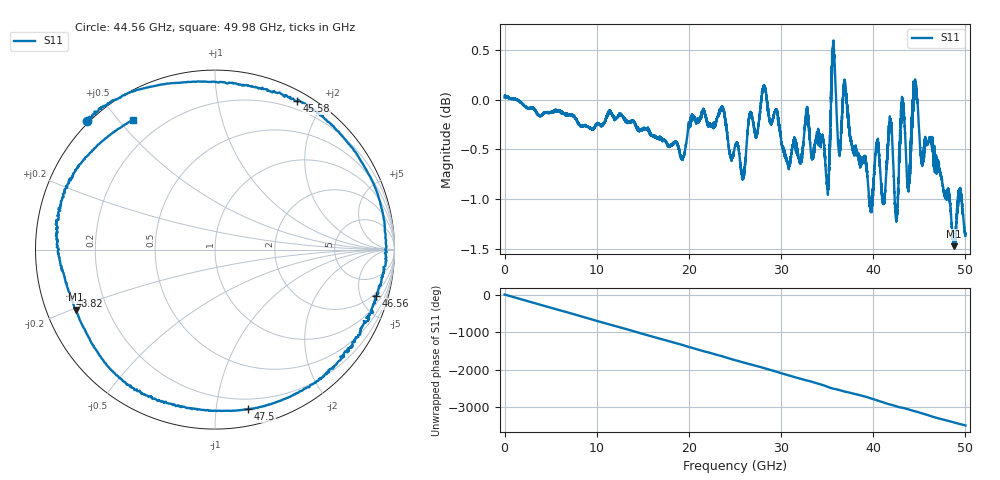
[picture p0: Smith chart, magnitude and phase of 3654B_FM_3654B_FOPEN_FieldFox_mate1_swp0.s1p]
!Created with skrf (http://scikit-rf.org).
# Hz S RI R 50.0
!freq ReS11 ImS11
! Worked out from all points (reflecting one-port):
!   10001 points, 300 kHz to 50 GHz, reference 50 ohm
!   lowest |S11| = -1.5 dB at 48.74 GHz (marker M1), VSWR 11.83, Z = 4.41 - j10.3 ohm
!   phase of S11 starts at 0 deg and turns -3479 deg over the sweep
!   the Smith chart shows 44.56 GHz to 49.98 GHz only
!   S11 on the Smith chart (normalised r, x): 44.56 GHz: -0.01, +0.41; 45.58 GHz: 0.11, +1.69; 46.56 GHz: 1.62, -6.72; 47.5 GHz: 0.12, -1.22; 48.82 GHz: 0.09, -0.16; 49.98 GHz: 0.10, +0.55
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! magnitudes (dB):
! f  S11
! 300 kHz  0.0
! 6.25 GHz  -0.1
! 12.5 GHz  -0.1
! 18.75 GHz  -0.4
! 25 GHz  -0.5
! 25.89 GHz  -0.8
! 28.16 GHz  0.1
! 31.25 GHz  -0.5
! 35.04 GHz  -0.9
! 35.69 GHz  0.6
! 36.27 GHz  -0.5
! 36.9 GHz  0.2
! 37.5 GHz  -0.4
! 39.74 GHz  -1.1
! 40.43 GHz  -0.4
! 41.17 GHz  -1.0
! 41.86 GHz  -0.2
! 42.51 GHz  -1.2
! 43.22 GHz  0.0
! 43.75 GHz  -0.9
! 44.56 GHz  0.1
! 45.58 GHz  -0.5
! 46.56 GHz  -0.6
! 47.5 GHz  -0.8
! 48.74 GHz  -1.5
! 48.82 GHz  -1.4
! 49.98 GHz  -1.3
! 50 GHz  -1.4
